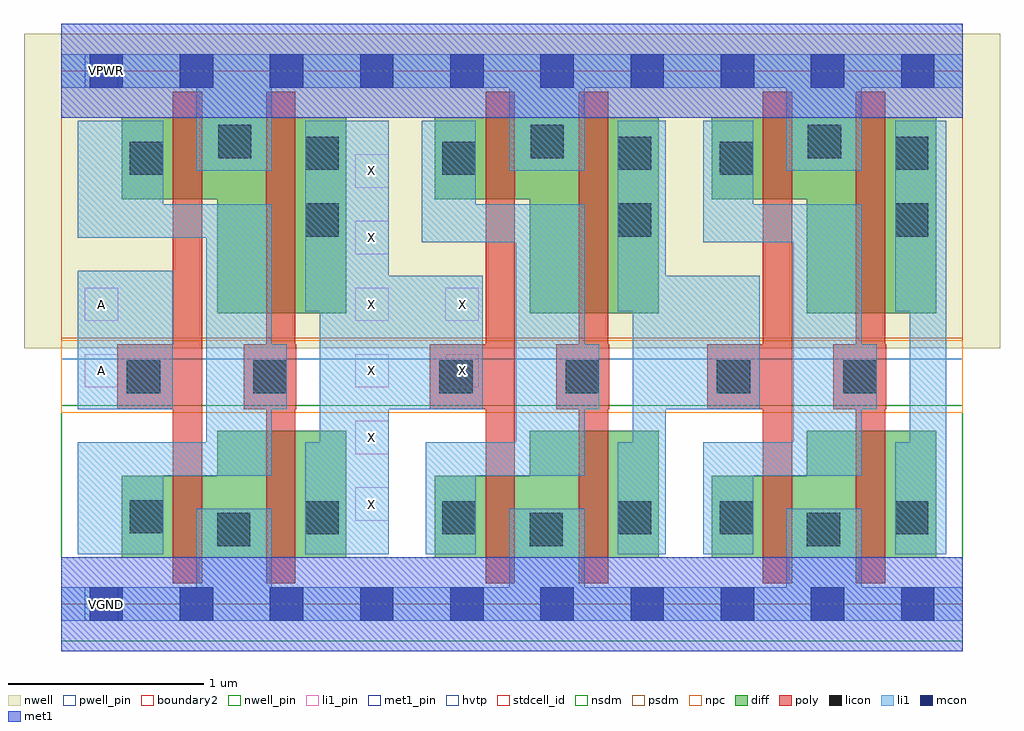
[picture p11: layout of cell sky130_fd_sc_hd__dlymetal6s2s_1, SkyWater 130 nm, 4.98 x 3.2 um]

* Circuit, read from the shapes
.subckt sky130_fd_sc_hd__dlymetal6s2s_1 A VGND VNB VPB VPWR X
XM1 VGND A n1 VNB sky130_fd_pr__nfet_01v8 w=0.42 l=0.15
XM2 X n1 VGND VNB sky130_fd_pr__nfet_01v8 w=0.65 l=0.15
XM3 VGND X n2 VNB sky130_fd_pr__nfet_01v8 w=0.42 l=0.15
XM4 n3 n2 VGND VNB sky130_fd_pr__nfet_01v8 w=0.65 l=0.15
XM5 VGND n3 n4 VNB sky130_fd_pr__nfet_01v8 w=0.42 l=0.15
XM6 n5 n4 VGND VNB sky130_fd_pr__nfet_01v8 w=0.65 l=0.15
XM7 VPWR A n1 VPB sky130_fd_pr__pfet_01v8_hvt w=0.42 l=0.15
XM8 X n1 VPWR VPB sky130_fd_pr__pfet_01v8_hvt w=1 l=0.15
XM9 VPWR X n2 VPB sky130_fd_pr__pfet_01v8_hvt w=0.42 l=0.15
XM10 n3 n2 VPWR VPB sky130_fd_pr__pfet_01v8_hvt w=1 l=0.15
XM11 VPWR n3 n4 VPB sky130_fd_pr__pfet_01v8_hvt w=0.42 l=0.15
XM12 n5 n4 VPWR VPB sky130_fd_pr__pfet_01v8_hvt w=1 l=0.15
.ends

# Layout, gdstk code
import gdstk
lib = gdstk.Library(unit=1e-6, precision=1e-09)
def R(c, l, rs):  # rectangles x0, y0, x1, y1
    for r in rs: c.add(gdstk.rectangle(r[:2], r[2:], *l))
def A(c, l, x, y, w, h, nx, ny, dx, dy):  # array of equal rectangles
    R(c, l, [(x+i*dx, y+j*dy, x+i*dx+w, y+j*dy+h) for i in range(nx) for j in range(ny)])
def P(c, l, *ps):  # polygons
    for p in ps: c.add(gdstk.Polygon(p, *l))
nwell_pin = (64, 16)
nwell = (64, 20)
diff = (65, 20)
poly = (66, 20)
licon = (66, 44)
li1_pin = (67, 16)
li1 = (67, 20)
mcon = (67, 44)
met1_pin = (68, 16)
met1 = (68, 20)
hvtp = (78, 44)
stdcell_id = (81, 4)
nsdm = (93, 44)
psdm = (94, 20)
npc = (95, 20)
pwell_pin = (122, 16)
boundary2 = (236, 0)

sky130_fd_sc_hd__dlymeta = lib.new_cell('sky130_fd_sc_hd__dlymetal6s2s_1')
R(sky130_fd_sc_hd__dlymeta, nwell_pin, [(0.12,2.635,0.29,2.805)])
R(sky130_fd_sc_hd__dlymeta, nwell, [(-0.19,1.305,4.79,2.91)])
P(sky130_fd_sc_hd__dlymeta, diff, [(4.465,0.885),(3.805,0.885),(3.805,0.655),(3.32,0.655),(3.32,0.235),(4.465,0.235)],
  [(4.465,2.485),(3.32,2.485),(3.32,2.065),(3.805,2.065),(3.805,1.485),(4.465,1.485)],
  [(3.05,0.885),(2.39,0.885),(2.39,0.655),(1.905,0.655),(1.905,0.235),(3.05,0.235)],
  [(3.05,2.485),(1.905,2.485),(1.905,2.065),(2.39,2.065),(2.39,1.485),(3.05,1.485)],
  [(1.455,0.885),(0.795,0.885),(0.795,0.655),(0.31,0.655),(0.31,0.235),(1.455,0.235)],
  [(1.455,2.485),(0.31,2.485),(0.31,2.065),(0.795,2.065),(0.795,1.485),(1.455,1.485)])
P(sky130_fd_sc_hd__dlymeta, poly, [(4.21,1.325),(4.205,1.325),(4.205,2.615),(4.055,2.615),(4.055,1.325),(3.94,1.325),(3.94,0.995),(4.055,0.995),(4.055,0.105),(4.205,0.105),(4.205,0.995),(4.21,0.995)],
  [(3.73,2.615),(3.58,2.615),(3.58,1.325),(3.295,1.325),(3.295,0.995),(3.58,0.995),(3.58,0.105),(3.73,0.105)],
  [(2.795,1.325),(2.79,1.325),(2.79,2.615),(2.64,2.615),(2.64,1.325),(2.525,1.325),(2.525,0.995),(2.64,0.995),(2.64,0.105),(2.79,0.105),(2.79,0.995),(2.795,0.995)],
  [(2.315,2.615),(2.165,2.615),(2.165,1.325),(1.88,1.325),(1.88,0.995),(2.165,0.995),(2.165,0.105),(2.315,0.105)],
  [(1.2,1.325),(1.195,1.325),(1.195,2.615),(1.045,2.615),(1.045,1.325),(0.93,1.325),(0.93,0.995),(1.045,0.995),(1.045,0.105),(1.195,0.105),(1.195,0.995),(1.2,0.995)],
  [(0.72,2.615),(0.57,2.615),(0.57,1.325),(0.285,1.325),(0.285,0.995),(0.57,0.995),(0.57,0.105),(0.72,0.105)])
R(sky130_fd_sc_hd__dlymeta, licon, [(0.795,0.295,0.965,0.465), (2.39,0.295,2.56,0.465), (3.805,0.295,3.975,0.465), (1.245,0.355,1.415,0.525), (1.945,0.355,2.115,0.525), (2.84,0.355,3.01,0.525), (3.36,0.355,3.53,0.525), (4.255,0.355,4.425,0.525), (0.35,0.36,0.52,0.53), (0.335,1.075,0.505,1.245), (0.98,1.075,1.15,1.245), (1.93,1.075,2.1,1.245), (2.575,1.075,2.745,1.245), (3.345,1.075,3.515,1.245), (3.99,1.075,4.16,1.245), (1.245,1.875,1.415,2.045), (2.84,1.875,3.01,2.045), (4.255,1.875,4.425,2.045), (0.35,2.19,0.52,2.36), (1.945,2.19,2.115,2.36), (3.36,2.19,3.53,2.36), (1.245,2.215,1.415,2.385), (2.84,2.215,3.01,2.385), (4.255,2.215,4.425,2.385), (0.8,2.275,0.97,2.445), (2.395,2.275,2.565,2.445), (3.81,2.275,3.98,2.445)])
A(sky130_fd_sc_hd__dlymeta, li1_pin, 1.5, 0.425, 0.17, 0.17, 1, 6, 0, 0.34)
R(sky130_fd_sc_hd__dlymeta, li1_pin, [(0.12,1.105,0.29,1.275), (1.96,1.105,2.13,1.275), (0.12,1.445,0.29,1.615), (1.96,1.445,2.13,1.615)])
R(sky130_fd_sc_hd__dlymeta, li1, [(0.085,0.995,0.57,1.7)])
P(sky130_fd_sc_hd__dlymeta, li1, [(4.6,2.805),(0,2.805),(0,2.635),(0.69,2.635),(0.69,2.21),(1.075,2.21),(1.075,2.635),(2.285,2.635),(2.285,2.21),(2.67,2.21),(2.67,2.635),(3.7,2.635),(3.7,2.21),(4.085,2.21),(4.085,2.635),(4.6,2.635)],
  [(4.6,0.085),(4.085,0.085),(4.085,0.485),(3.7,0.485),(3.7,0.085),(2.67,0.085),(2.67,0.485),(2.285,0.485),(2.285,0.085),(1.075,0.085),(1.075,0.485),(0.69,0.485),(0.69,0.085),(0,0.085),(0,-0.085),(4.6,-0.085)],
  [(4.515,2.465),(4.255,2.465),(4.255,1.495),(4.33,1.495),(4.33,0.825),(4.255,0.825),(4.255,0.255),(4.515,0.255)],
  [(4.16,1.325),(4.085,1.325),(4.085,2.04),(3.53,2.04),(3.53,2.465),(3.275,2.465),(3.275,1.845),(3.735,1.845),(3.735,0.825),(3.275,0.825),(3.275,0.255),(3.53,0.255),(3.53,0.655),(4.085,0.655),(4.085,0.995),(4.16,0.995)],
  [(3.565,1.675),(3.085,1.675),(3.085,2.465),(2.84,2.465),(2.84,1.495),(2.915,1.495),(2.915,0.825),(2.84,0.825),(2.84,0.255),(3.085,0.255),(3.085,0.995),(3.565,0.995)],
  [(2.745,1.325),(2.67,1.325),(2.67,2.04),(2.115,2.04),(2.115,2.465),(1.84,2.465),(1.84,1.845),(2.32,1.845),(2.32,0.825),(1.86,0.825),(1.86,0.255),(2.115,0.255),(2.115,0.655),(2.67,0.655),(2.67,0.995),(2.745,0.995)],
  [(2.15,1.675),(1.67,1.675),(1.67,2.465),(1.245,2.465),(1.245,1.495),(1.32,1.495),(1.32,0.825),(1.245,0.825),(1.245,0.255),(1.67,0.255),(1.67,0.995),(2.15,0.995)],
  [(1.15,1.325),(1.075,1.325),(1.075,2.04),(0.52,2.04),(0.52,2.465),(0.085,2.465),(0.085,1.87),(0.74,1.87),(0.74,0.825),(0.085,0.825),(0.085,0.255),(0.52,0.255),(0.52,0.655),(1.075,0.655),(1.075,0.995),(1.15,0.995)])
A(sky130_fd_sc_hd__dlymeta, mcon, 0.145, -0.085, 0.17, 0.17, 10, 2, 0.46, 2.72)
R(sky130_fd_sc_hd__dlymeta, met1_pin, [(0.12,-0.085,0.29,0.085), (0.12,2.635,0.29,2.805)])
R(sky130_fd_sc_hd__dlymeta, hvtp, [(0,1.25,4.6,2.72)])
R(sky130_fd_sc_hd__dlymeta, stdcell_id, [(0,0,4.6,2.72)])
R(sky130_fd_sc_hd__dlymeta, nsdm, [(0,-0.19,4.6,1.015)])
R(sky130_fd_sc_hd__dlymeta, psdm, [(0,1.355,4.6,2.91)])
R(sky130_fd_sc_hd__dlymeta, npc, [(0,0.975,4.6,1.345)])
R(sky130_fd_sc_hd__dlymeta, pwell_pin, [(0.12,-0.085,0.29,0.085)])
R(sky130_fd_sc_hd__dlymeta, boundary2, [(0,0,4.6,2.72)])
sky130_fd_sc_hd__dlymeta.add(gdstk.FlexPath([(0,0),(4.6,0)], 0.48, ends="flush", simple_path=True, layer=68, datatype=20))  # met1
sky130_fd_sc_hd__dlymeta.add(gdstk.FlexPath([(0,2.72),(4.6,2.72)], 0.48, ends="flush", simple_path=True, layer=68, datatype=20))  # met1
sky130_fd_sc_hd__dlymeta.add(gdstk.Label('VPWR', (0.23,2.72), layer=68, texttype=5))
sky130_fd_sc_hd__dlymeta.add(gdstk.Label('VGND', (0.23,0), layer=68, texttype=5))
sky130_fd_sc_hd__dlymeta.add(gdstk.Label('VPB', (0.23,2.72), layer=64, texttype=5))
sky130_fd_sc_hd__dlymeta.add(gdstk.Label('VNB', (0.23,0), layer=64, texttype=59))
sky130_fd_sc_hd__dlymeta.add(gdstk.Label('A', (0.205,1.19), layer=67, texttype=5))
sky130_fd_sc_hd__dlymeta.add(gdstk.Label('X', (1.585,1.53), layer=67, texttype=5))
sky130_fd_sc_hd__dlymeta.add(gdstk.Label('A', (0.205,1.53), layer=67, texttype=5))
sky130_fd_sc_hd__dlymeta.add(gdstk.Label('X', (1.585,1.87), layer=67, texttype=5))
sky130_fd_sc_hd__dlymeta.add(gdstk.Label('X', (1.585,2.21), layer=67, texttype=5))
sky130_fd_sc_hd__dlymeta.add(gdstk.Label('X', (1.585,1.19), layer=67, texttype=5))
sky130_fd_sc_hd__dlymeta.add(gdstk.Label('X', (1.585,0.85), layer=67, texttype=5))
sky130_fd_sc_hd__dlymeta.add(gdstk.Label('X', (1.585,0.51), layer=67, texttype=5))
sky130_fd_sc_hd__dlymeta.add(gdstk.Label('X', (2.045,1.19), layer=67, texttype=5))
sky130_fd_sc_hd__dlymeta.add(gdstk.Label('X', (2.045,1.53), layer=67, texttype=5))
sky130_fd_sc_hd__dlymeta.add(gdstk.Label('dlymetal6s2s_1', (0,0), layer=83, texttype=44))

lib.write_gds('sky130_fd_sc_hd__dlymetal6s2s_1.gds')
